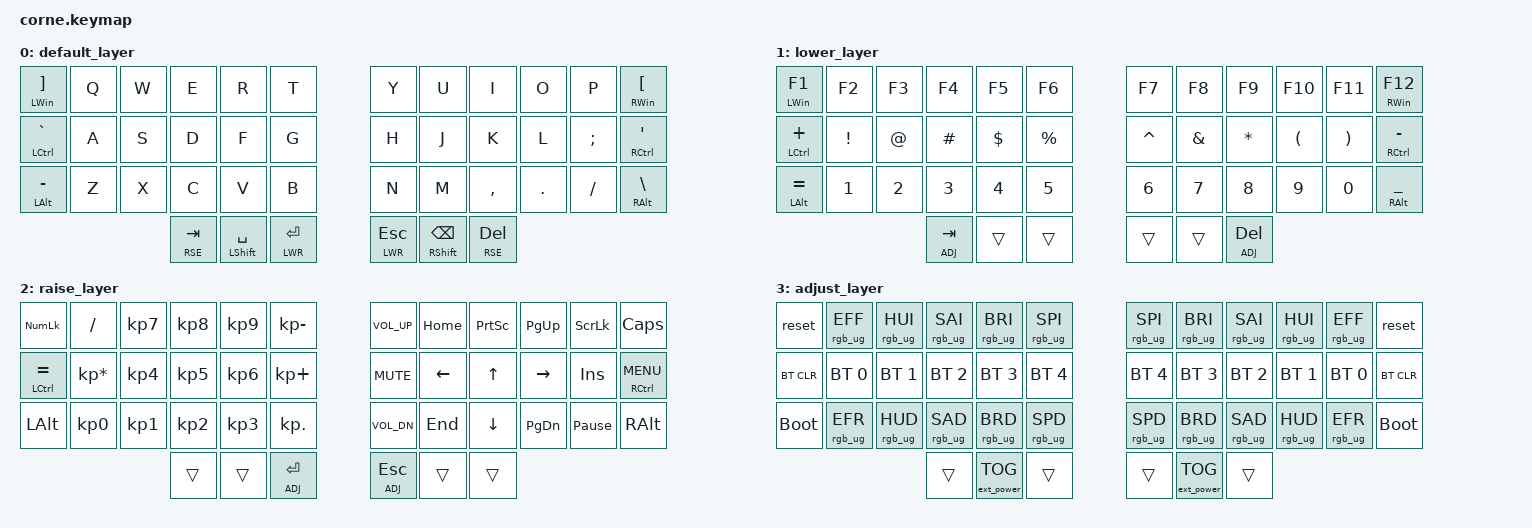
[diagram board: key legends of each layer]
/*
 * Copyright (c) 2020 The ZMK Contributors
 *
 * SPDX-License-Identifier: MIT
 */

#include <behaviors.dtsi>
#include <dt-bindings/zmk/keys.h>
#include <dt-bindings/zmk/bt.h>
#include <dt-bindings/zmk/rgb.h>
#include <dt-bindings/zmk/ext_power.h>

#define DEF 0
#define LWR 1
#define RSE 2
#define ADJ 3

&lt { quick_tap_ms = <200>; };
&mt { quick_tap_ms = <200>; };

/ {
        keymap {
                compatible = "zmk,keymap";

                default_layer {
// ----------------------------------------------------------------------------------------
// | WIN  / ] |  Q  |  W  |  E  |  R  |  T  |   |  Y  |  U  |  I  |  O  |  P  | WIN   / [ |
// | CTRL / ` |  A  |  S  |  D  |  F  |  G  |   |  H  |  J  |  K  |  L  |  ;  | CTRL  / ' |
// | ALT  / - |  Z  |  X  |  C  |  V  |  B  |   |  N  |  M  |  ,  |  .  |  /  | ALTGR / \ |
//                        | RSE | SPC | LWR |   | LWR | SPC | RSE |
                        bindings = <
   &mt LWIN  RBKT  &kp Q &kp W &kp E &kp R &kp T   &kp Y &kp U  &kp I     &kp O   &kp P    &mt RWIN  LBKT
   &mt LCTRL GRAVE &kp A &kp S &kp D &kp F &kp G   &kp H &kp J  &kp K     &kp L   &kp SEMI &mt RCTRL SQT
   &mt LALT  MINUS &kp Z &kp X &kp C &kp V &kp B   &kp N &kp M  &kp COMMA &kp DOT &kp FSLH &mt RALT  BSLH
         &lt RSE TAB &mt LSHFT SPACE &lt LWR RET   &lt LWR ESC &mt RSHFT BSPC &lt RSE DEL
                        >;
                };
                lower_layer {
// ----------------------------------------------------------------------------------------
// | WIN / F1 |  F2 |  F3 |  F4 |  F5 |  F6 |   |  F7 |  F8 |  F9 | F10 | F11 | WIN / F12 |
// | CTRL / + |  !  |  @  |  #  |  $  |  %  |   |  ^  |  &  |  *  |  (  |  )  | RCTRL / - |
// | ALT  / = |  1  |  2  |  3  |  4  |  5  |   |  6  |  7  |  8  |  9  |  0  | ALTGR / _ |
//                        | ADJ |     |     |   |     |     | ADJ |
                        bindings = <
   &mt LWIN  F1    &kp F2   &kp F3 &kp F4   &kp F5   &kp F6      &kp F7    &kp F8   &kp F9   &kp F10  &kp F11  &mt RWIN  F12
   &mt LCTRL PLUS  &kp EXCL &kp AT &kp HASH &kp DLLR &kp PRCNT   &kp CARET &kp AMPS &kp STAR &kp LPAR &kp RPAR &mt RCTRL MINUS
   &mt LALT  EQUAL &kp N1   &kp N2 &kp N3   &kp N4   &kp N5      &kp N6    &kp N7   &kp N8   &kp N9   &kp N0   &mt RALT  UNDER
                                     &lt ADJ TAB &trans &trans   &trans &trans &lt ADJ DEL
                        >;
                };

                raise_layer {
// --------------------------------------------------------------------------------------------------
// |   NLCK   |  /  |  7  |  8  |  9  |  -  |   | VOL+ | HOME |  PS  |  PGUP |  SLCK |     CLCK     |
// | CTRL / = |  *  |  4  |  5  |  6  |  +  |   | MUTE | LEFT |  UP  | RIGHT |  INS  | RCTRL / MENU |
// |    ALT   |  0  |  1  |  2  |  3  |  .  |   | VOL- |  END | DOWN |  PGDN | PSBRK |     ALTGR    |
//                        |     |     | ADJ |   |  ADJ |      |      |
                        bindings = <
   &kp KP_NUM       &kp FSLH        &kp KP_N7 &kp KP_N8 &kp KP_N9 &kp KP_MINUS   &kp C_VOL_UP &kp HOME &kp PSCRN &kp PG_UP &kp SLCK        &kp CLCK
   &mt LCTRL EQUAL &kp KP_MULTIPLY &kp KP_N4 &kp KP_N5 &kp KP_N6 &kp KP_PLUS     &kp C_MUTE   &kp LEFT &kp UP    &kp RIGHT &kp INS         &mt RCTRL K_MENU
   &kp LALT         &kp KP_N0       &kp KP_N1 &kp KP_N2 &kp KP_N3 &kp KP_DOT     &kp C_VOL_DN &kp END  &kp DOWN  &kp PG_DN &kp PAUSE_BREAK &kp RALT
                                                     &trans &trans &lt ADJ RET   &lt ADJ ESC &trans &trans
                        >;
                };
                adjust_layer {
// -------------------------------------------------------------------------------------------
// |  RST  | MOD+ | HUE+ | SAT+ | BRI+ | SPD+ |   | SPD+ | BRI+ | SAT+ | HUE+ | MOD+ |  RST  | 
// | BTCLR |  BT0 |  BT1 |  BT2 |  BT3 | BT4  |   | BT4  |  BT3 |  BT2 |  BT1 |  BT0 | BTCLR |
// |  BLDR | MOD- | HUE- | SAT- | BRI- | SPD- |   | BRI- | SPD- | SAT- | HUE- | MOD- |  BLDR |
//                       |      | RGB  |      |   |      | RGB  |      |
                        bindings = <
   &reset      &rgb_ug RGB_EFF &rgb_ug RGB_HUI &rgb_ug RGB_SAI &rgb_ug RGB_BRI &rgb_ug RGB_SPI   &rgb_ug RGB_SPI &rgb_ug RGB_BRI &rgb_ug RGB_SAI &rgb_ug RGB_HUI &rgb_ug RGB_EFF &reset
   &bt BT_CLR  &bt BT_SEL 0    &bt BT_SEL 1    &bt BT_SEL 2    &bt BT_SEL 3    &bt BT_SEL 4      &bt BT_SEL 4    &bt BT_SEL 3    &bt BT_SEL 2    &bt BT_SEL 1    &bt BT_SEL 0    &bt BT_CLR
   &bootloader &rgb_ug RGB_EFR &rgb_ug RGB_HUD &rgb_ug RGB_SAD &rgb_ug RGB_BRD &rgb_ug RGB_SPD   &rgb_ug RGB_SPD &rgb_ug RGB_BRD &rgb_ug RGB_SAD &rgb_ug RGB_HUD &rgb_ug RGB_EFR &bootloader
                                                               &trans &ext_power EP_TOG &trans   &trans &ext_power EP_TOG &trans
                        >;
                };
        };
};
